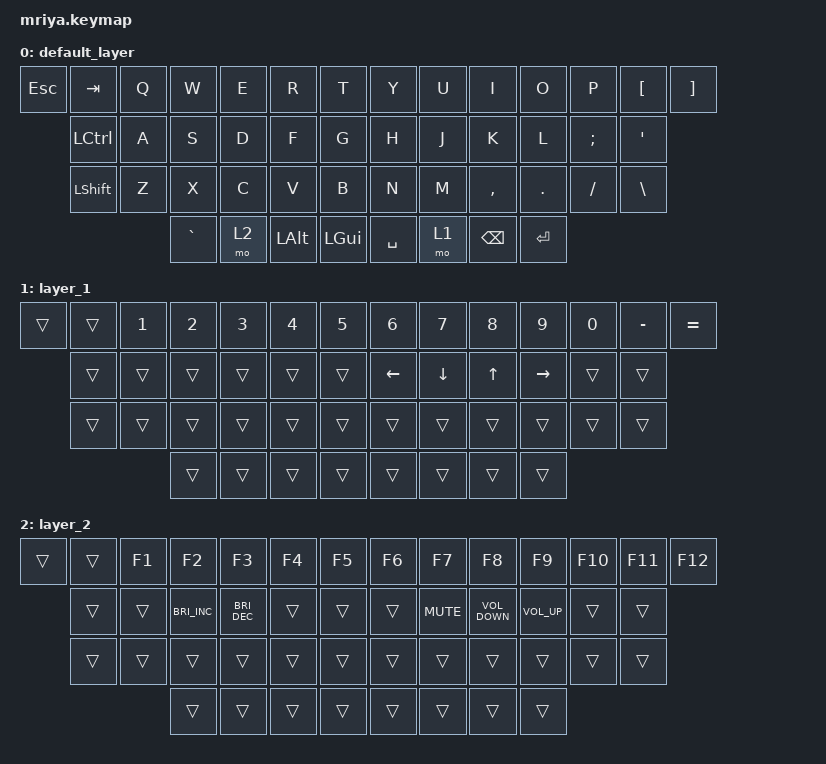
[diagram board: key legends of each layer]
/*
 * Copyright (c) 2023 Andrei Gaevskii
 *
 * SPDX-License-Identifier: MIT
 */

#include <behaviors.dtsi>
#include <dt-bindings/zmk/keys.h>

#define DEF 0
#define LWR 1
#define RSE 2
#define ADJ 3

&lt { quick_tap_ms = <200>; };

&mt { quick_tap_ms = <200>; };

/ {
    keymap {
        compatible = "zmk,keymap";

        default_layer {
            bindings = <
&kp ESC  &kp TAB    &kp Q  &kp W      &kp E  &kp R     &kp T       &kp Y      &kp U  &kp I      &kp O    &kp P     &kp LBKT  &kp RBKT
         &kp LCTRL  &kp A  &kp S      &kp D  &kp F     &kp G       &kp H      &kp J  &kp K      &kp L    &kp SEMI  &kp SQT
         &kp LSHFT  &kp Z  &kp X      &kp C  &kp V     &kp B       &kp N      &kp M  &kp COMMA  &kp DOT  &kp FSLH  &kp BSLH
                           &kp GRAVE  &mo 2  &kp LALT  &kp LGUI    &kp SPACE  &mo 1  &kp BSPC   &kp RET
            >;
        };

        layer_1 {
            bindings = <
&trans  &trans  &kp N1  &kp N2  &kp N3  &kp N4  &kp N5    &kp N6    &kp N7    &kp N8  &kp N9     &kp N0  &kp MINUS  &kp EQUAL
        &trans  &trans  &trans  &trans  &trans  &trans    &kp LEFT  &kp DOWN  &kp UP  &kp RIGHT  &trans  &trans
        &trans  &trans  &trans  &trans  &trans  &trans    &trans    &trans    &trans  &trans     &trans  &trans
                        &trans  &trans  &trans  &trans    &trans    &trans    &trans  &trans
            >;
        };

        layer_2 {
            bindings = <
&trans  &trans  &kp F1  &kp F2                &kp F3                &kp F4  &kp F5    &kp F6  &kp F7      &kp F8             &kp F9           &kp F10  &kp F11  &kp F12
        &trans  &trans  &kp C_BRIGHTNESS_INC  &kp C_BRIGHTNESS_DEC  &trans  &trans    &trans  &kp K_MUTE  &kp C_VOLUME_DOWN  &kp C_VOLUME_UP  &trans   &trans
        &trans  &trans  &trans                &trans                &trans  &trans    &trans  &trans      &trans             &trans           &trans   &trans
                        &trans                &trans                &trans  &trans    &trans  &trans      &trans             &trans
            >;
        };
    };
};
